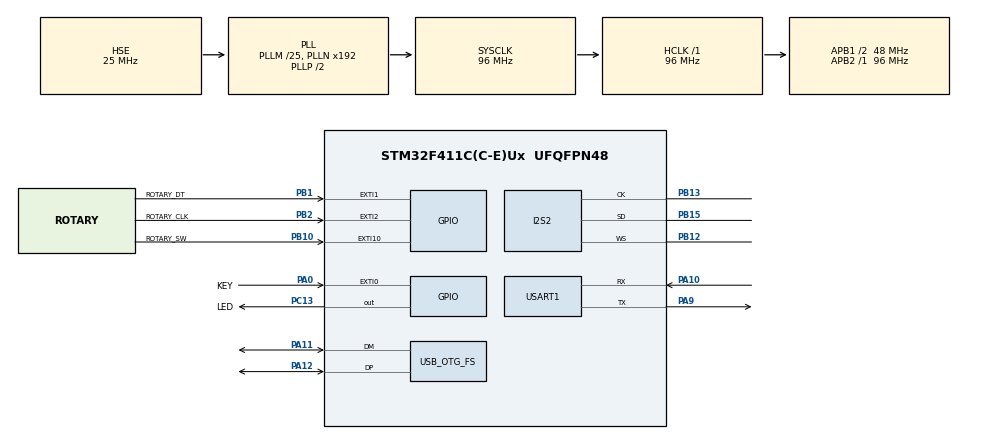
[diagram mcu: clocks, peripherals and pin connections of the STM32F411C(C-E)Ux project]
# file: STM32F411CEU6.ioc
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Dma.Request0=SPI2_TX
Dma.SPI2_TX.0.Direction=DMA_MEMORY_TO_PERIPH
Dma.SPI2_TX.0.FIFOMode=DMA_FIFOMODE_ENABLE
Dma.SPI2_TX.0.FIFOThreshold=DMA_FIFO_THRESHOLD_FULL
Dma.SPI2_TX.0.Instance=DMA1_Stream4
Dma.SPI2_TX.0.MemBurst=DMA_MBURST_INC8
Dma.SPI2_TX.0.MemDataAlignment=DMA_MDATAALIGN_HALFWORD
Dma.SPI2_TX.0.MemInc=DMA_MINC_ENABLE
Dma.SPI2_TX.0.Mode=DMA_CIRCULAR
Dma.SPI2_TX.0.PeriphBurst=DMA_PBURST_SINGLE
Dma.SPI2_TX.0.PeriphDataAlignment=DMA_PDATAALIGN_HALFWORD
Dma.SPI2_TX.0.PeriphInc=DMA_PINC_DISABLE
Dma.SPI2_TX.0.Priority=DMA_PRIORITY_LOW
FREERTOS.Tasks01=defaultTask,24,128,StartDefaultTask,Default,NULL,Dynamic,NULL,NULL
FREERTOS.configGENERATE_RUN_TIME_STATS=1
FREERTOS.configUSE_STATS_FORMATTING_FUNCTIONS=1
I2S2.AudioFreq=I2S_AUDIOFREQ_48K
I2S2.ErrorAudioFreq=0.01 %
I2S2.FullDuplexMode=I2S_FULLDUPLEXMODE_DISABLE
I2S2.Instance=SPI$Index
I2S2.RealAudioFreq=48.007 KHz
I2S2.VirtualMode=I2S_MODE_MASTER
Mcu.Family=STM32F4
Mcu.Name=STM32F411C(C-E)Ux
Mcu.Package=UFQFPN48
NVIC.DMA1_Stream4_IRQn=true\:5\:0\:false\:false\:true\:true\:false\:true\:true
NVIC.EXTI0_IRQn=true\:5\:0\:false\:false\:true\:true\:true\:true\:true
NVIC.EXTI15_10_IRQn=true\:5\:0\:false\:false\:true\:true\:true\:true\:true
NVIC.EXTI1_IRQn=true\:5\:0\:true\:false\:true\:true\:true\:true\:true
NVIC.EXTI2_IRQn=true\:5\:0\:true\:false\:true\:true\:true\:true\:true
NVIC.OTG_FS_IRQn=true\:5\:0\:false\:false\:true\:true\:false\:true\:true
NVIC.PriorityGroup=NVIC_PRIORITYGROUP_4
NVIC.TIM3_IRQn=true\:5\:0\:false\:false\:true\:true\:true\:true\:true
NVIC.TIM4_IRQn=true\:15\:0\:false\:false\:true\:false\:false\:true\:true
NVIC.TIM5_IRQn=true\:5\:0\:false\:false\:true\:true\:true\:true\:true
NVIC.TimeBase=TIM4_IRQn
NVIC.TimeBaseIP=TIM4
PA0-WKUP.GPIO_Label=KEY
PA0-WKUP.GPIO_ModeDefaultEXTI=GPIO_MODE_IT_FALLING
PA0-WKUP.GPIO_PuPd=GPIO_PULLUP
PA0-WKUP.Signal=GPXTI0
PA10.Mode=Asynchronous
PA10.Signal=USART1_RX
PA11.Mode=Device_Only
PA11.Signal=USB_OTG_FS_DM
PA12.Mode=Device_Only
PA12.Signal=USB_OTG_FS_DP
PA9.Mode=Asynchronous
PA9.Signal=USART1_TX
PB1.GPIO_Label=ROTARY_DT
PB1.GPIO_ModeDefaultEXTI=GPIO_MODE_IT_RISING_FALLING
PB1.GPIO_PuPd=GPIO_PULLUP
PB1.Signal=GPXTI1
PB10.GPIO_Label=ROTARY_SW
PB10.GPIO_ModeDefaultEXTI=GPIO_MODE_IT_FALLING
PB10.GPIO_PuPd=GPIO_PULLUP
PB10.Signal=GPXTI10
PB12.Mode=Half_Duplex_Master
PB12.Signal=I2S2_WS
PB13.Mode=Half_Duplex_Master
PB13.Signal=I2S2_CK
PB15.Mode=Half_Duplex_Master
PB15.Signal=I2S2_SD
PB2.GPIO_Label=ROTARY_CLK
PB2.GPIO_ModeDefaultEXTI=GPIO_MODE_IT_RISING_FALLING
PB2.GPIO_PuPd=GPIO_PULLUP
PB2.Signal=GPXTI2
PC13-ANTI_TAMP.GPIO_Label=LED
PC13-ANTI_TAMP.Signal=GPIO_Output
PH0\ -\ OSC_IN.Mode=HSE-External-Oscillator
PH0\ -\ OSC_IN.Signal=RCC_OSC_IN
PH1\ -\ OSC_OUT.Mode=HSE-External-Oscillator
PH1\ -\ OSC_OUT.Signal=RCC_OSC_OUT
ProjectManager.HeapSize=0x4000
ProjectManager.StackSize=0x1000
ProjectManager.TargetToolchain=MDK-ARM V5.32
RCC.48MHZClocksFreq_Value=48000000
RCC.AHBFreq_Value=96000000
RCC.APB1CLKDivider=RCC_HCLK_DIV2
RCC.APB1Freq_Value=48000000
RCC.APB1TimFreq_Value=96000000
RCC.APB2Freq_Value=96000000
RCC.APB2TimFreq_Value=96000000
RCC.CortexFreq_Value=96000000
RCC.HCLKFreq_Value=96000000
RCC.HSE_VALUE=25000000
RCC.HSI_VALUE=16000000
RCC.LSE_VALUE=32768
RCC.PLLI2SN=234
RCC.PLLM=25
RCC.SYSCLKFreq_VALUE=96000000
RCC.SYSCLKSource=RCC_SYSCLKSOURCE_PLLCLK
RCC.VCOOutputFreq_Value=192000000
TIM3.Period=96-1
TIM3.Prescaler=50-1
TIM5.Period=1000-1
TIM5.Prescaler=96-1
USART1.VirtualMode=VM_ASYNC
USB_DEVICE.CLASS_NAME_FS=AUDIO
USB_DEVICE.PID_AUDIO_FS=22336
USB_DEVICE.USBD_AUDIO_FREQ=48000
USB_DEVICE.VirtualMode=Audio
USB_DEVICE.VirtualModeFS=Audio_FS
USB_OTG_FS.VirtualMode=Device_Only
VP_FREERTOS_VS_CMSIS_V2.Mode=CMSIS_V2
VP_SYS_VS_tim4.Mode=TIM4
VP_TIM3_VS_ClockSourceINT.Mode=Internal
VP_TIM5_VS_ClockSourceINT.Mode=Internal
VP_USB_DEVICE_VS_USB_DEVICE_AUDIO_FS.Mode=AUDIO_FS
board=custom

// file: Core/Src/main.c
/* USER CODE BEGIN Header */
/**
  ******************************************************************************
  * @file           : main.c
  * @brief          : Main program body
  ******************************************************************************
  * @attention
  *
  * Copyright (c) 2025 STMicroelectronics.
  * All rights reserved.
  *
  * This software is licensed under terms that can be found in the LICENSE file
  * in the root directory of this software component.
  * If no LICENSE file comes with this software, it is provided AS-IS.
  *
  ******************************************************************************
  */
/* USER CODE END Header */
#include "main.h"
#include "cmsis_os.h"
#include "dma.h"
#include "i2s.h"
#include "tim.h"
#include "usart.h"
#include "usb_device.h"
#include "gpio.h"

/* USER CODE BEGIN Includes */
#include <stdio.h>
#include "SEGGER_RTT.h"
#include "rotary.h"
#include "usbd_audio_if.h"
/* USER CODE END Includes */

/* USER CODE BEGIN PV */
volatile long long FreeRTOSRunTimeTicks;
volatile uint8_t key_press = 0;
volatile uint8_t rotary_key_press = 0;
Rotary_HandleTypeDef hrotary;
/* USER CODE END PV */

void SystemClock_Config(void);
void MX_FREERTOS_Init(void);

/* USER CODE BEGIN 0 */
bool read_rotary_a(void *data) {
  return HAL_GPIO_ReadPin(ROTARY_CLK_GPIO_Port, ROTARY_CLK_Pin) == GPIO_PIN_SET;
}
bool read_rotary_b(void *data) {
  return HAL_GPIO_ReadPin(ROTARY_DT_GPIO_Port, ROTARY_DT_Pin) == GPIO_PIN_SET;
}
/* USER CODE END 0 */

int main(void)
{

  /* MCU Configuration--------------------------------------------------------*/

  /* Reset of all peripherals, Initializes the Flash interface and the Systick. */
  HAL_Init();

  /* Configure the system clock */
  SystemClock_Config();

  /* Initialize all configured peripherals */
  MX_GPIO_Init();
  MX_DMA_Init();
  MX_TIM5_Init();
  MX_USART1_UART_Init();
  MX_TIM3_Init();
  MX_I2S2_Init();
  /* USER CODE BEGIN 2 */
  SEGGER_RTT_Init();
  Rotary_Init(&hrotary, read_rotary_a, NULL, read_rotary_b, NULL);
  HAL_TIM_Base_Start_IT(&htim5);
  /* USER CODE END 2 */

  /* Init scheduler */
  osKernelInitialize();

  /* Call init function for freertos objects (in cmsis_os2.c) */
  MX_FREERTOS_Init();

  /* Start scheduler */
  osKernelStart();

  /* We should never get here as control is now taken by the scheduler */

  /* Infinite loop */
  while (1)
  {

  }
}

void SystemClock_Config(void)
{
  RCC_OscInitTypeDef RCC_OscInitStruct = {0};
  RCC_ClkInitTypeDef RCC_ClkInitStruct = {0};

  /** Configure the main internal regulator output voltage
  */
  __HAL_RCC_PWR_CLK_ENABLE();
  __HAL_PWR_VOLTAGESCALING_CONFIG(PWR_REGULATOR_VOLTAGE_SCALE1);

  /** Initializes the RCC Oscillators according to the specified parameters
  * in the RCC_OscInitTypeDef structure.
  */
  RCC_OscInitStruct.OscillatorType = RCC_OSCILLATORTYPE_HSE;
  RCC_OscInitStruct.HSEState = RCC_HSE_ON;
  RCC_OscInitStruct.PLL.PLLState = RCC_PLL_ON;
  RCC_OscInitStruct.PLL.PLLSource = RCC_PLLSOURCE_HSE;
  RCC_OscInitStruct.PLL.PLLM = 25;
  RCC_OscInitStruct.PLL.PLLN = 192;
  RCC_OscInitStruct.PLL.PLLP = RCC_PLLP_DIV2;
  RCC_OscInitStruct.PLL.PLLQ = 4;
  if (HAL_RCC_OscConfig(&RCC_OscInitStruct) != HAL_OK)
  {
    Error_Handler();
  }

  /** Initializes the CPU, AHB and APB buses clocks
  */
  RCC_ClkInitStruct.ClockType = RCC_CLOCKTYPE_HCLK|RCC_CLOCKTYPE_SYSCLK
                              |RCC_CLOCKTYPE_PCLK1|RCC_CLOCKTYPE_PCLK2;
  RCC_ClkInitStruct.SYSCLKSource = RCC_SYSCLKSOURCE_PLLCLK;
  RCC_ClkInitStruct.AHBCLKDivider = RCC_SYSCLK_DIV1;
  RCC_ClkInitStruct.APB1CLKDivider = RCC_HCLK_DIV2;
  RCC_ClkInitStruct.APB2CLKDivider = RCC_HCLK_DIV1;

  if (HAL_RCC_ClockConfig(&RCC_ClkInitStruct, FLASH_LATENCY_3) != HAL_OK)
  {
    Error_Handler();
  }
}

/* USER CODE BEGIN 4 */
void HAL_GPIO_EXTI_Callback(uint16_t GPIO_Pin)
{
    if(GPIO_Pin == KEY_Pin)
    {
      static uint32_t key_last_tick = 0;
      uint32_t now = HAL_GetTick();
      if (now - key_last_tick < 50) {
          return; //消抖50ms
      }
      key_last_tick = now;
      key_press = 1;
    }

    if(GPIO_Pin == ROTARY_SW_Pin)
    {
      static uint32_t rotary_key_last_tick = 0;
      uint32_t now = HAL_GetTick();
      if (now - rotary_key_last_tick < 50) {
          return; //消抖50ms
      }
      rotary_key_last_tick = now;
      rotary_key_press = 1;
    }
}

void HAL_I2S_TxHalfCpltCallback(I2S_HandleTypeDef *hi2s)
{
	if(hi2s == &hi2s2){
		HalfTransfer_CallBack_FS();
	}
}

void HAL_I2S_TxCpltCallback(I2S_HandleTypeDef *hi2s)
{
	if(hi2s == &hi2s2){
		TransferComplete_CallBack_FS();
	}
}

void AudioDMA_Stop(void)//停止DMA结束播放
{
	HAL_I2S_DMAStop(&hi2s2);
}

void AudioDMA_Pause(void)//暂停DMA暂停播放
{
	HAL_I2S_DMAPause(&hi2s2);
}

void AudioDMA_Resume(void)//从暂停恢复播放
{
	HAL_I2S_DMAResume(&hi2s2);
}

void AudioCard_Play(uint16_t* buff, uint16_t size)//声卡模式开始播放
{
	HAL_I2S_Transmit_DMA(&hi2s2, buff, size);
}

/* USER CODE END 4 */

void HAL_TIM_PeriodElapsedCallback(TIM_HandleTypeDef *htim)
{
  /* USER CODE BEGIN Callback 0 */
  if (htim->Instance == TIM4)
  {
    FreeRTOSRunTimeTicks++;
  }
  /* USER CODE END Callback 0 */
  if (htim->Instance == TIM4)
  {
    HAL_IncTick();
  }
  /* USER CODE BEGIN Callback 1 */
  if(htim->Instance == TIM5) //1ms触发一次
  {
    static uint16_t led_counter = 0;
    led_counter++;
    if(led_counter >= 500)
    {
      led_counter = 0;
      HAL_GPIO_TogglePin(LED_GPIO_Port, LED_Pin);
    }

    // 调用编码器处理函数
    uint8_t result = Rotary_Process(&hrotary);
    // 根据返回值更新计数器
    if (result == ROTARY_DIR_CW) // 顺时针
    {

    }
    else if (result == ROTARY_DIR_CCW) // 逆时针
    {

    }
    // result == ROTARY_DIR_NONE时不做处理
  }
  /* USER CODE END Callback 1 */
}

void Error_Handler(void)
{
  __disable_irq();
  while (1)
  {
  }
}

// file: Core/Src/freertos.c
/* USER CODE BEGIN Header */
/**
  ******************************************************************************
  * File Name          : freertos.c
  * Description        : Code for freertos applications
  ******************************************************************************
  * @attention
  *
  * Copyright (c) 2025 STMicroelectronics.
  * All rights reserved.
  *
  * This software is licensed under terms that can be found in the LICENSE file
  * in the root directory of this software component.
  * If no LICENSE file comes with this software, it is provided AS-IS.
  *
  ******************************************************************************
  */
/* USER CODE END Header */

#include "FreeRTOS.h"
#include "task.h"
#include "main.h"
#include "cmsis_os.h"

/* USER CODE BEGIN Includes */
#include "stdio.h"
#include "string.h"
#include "SEGGER_RTT.h"
/* USER CODE END Includes */

/* USER CODE BEGIN Variables */
extern volatile long long FreeRTOSRunTimeTicks;
/* USER CODE END Variables */
/* Definitions for defaultTask */
osThreadId_t defaultTaskHandle;
const osThreadAttr_t defaultTask_attributes = {
  .name = "defaultTask",
  .stack_size = 128 * 4,
  .priority = (osPriority_t) osPriorityNormal,
};

void StartDefaultTask(void *argument);

extern void MX_USB_DEVICE_Init(void);
void MX_FREERTOS_Init(void); /* (MISRA C 2004 rule 8.1) */

/* Hook prototypes */
void configureTimerForRunTimeStats(void);
unsigned long getRunTimeCounterValue(void);

/* USER CODE BEGIN 1 */
/* Functions needed when configGENERATE_RUN_TIME_STATS is on */
__weak void configureTimerForRunTimeStats(void)
{
  FreeRTOSRunTimeTicks = 0;
}

__weak unsigned long getRunTimeCounterValue(void)
{
return FreeRTOSRunTimeTicks;
}
/* USER CODE END 1 */

void MX_FREERTOS_Init(void) {

  /* Create the thread(s) */
  /* creation of defaultTask */
  defaultTaskHandle = osThreadNew(StartDefaultTask, NULL, &defaultTask_attributes);

}

void StartDefaultTask(void *argument)
{
  /* init code for USB_DEVICE */
  MX_USB_DEVICE_Init();
  /* USER CODE BEGIN StartDefaultTask */
  extern uint8_t key_press;
  extern uint8_t rotary_key_press;
  static char pcWriteBuffer[400];
  static TickType_t lastPrintTick = 0;
  /* Infinite loop */
  for(;;)
  {
    TickType_t nowTicks = xTaskGetTickCount();
    if ((nowTicks - lastPrintTick) >= pdMS_TO_TICKS(1000))
    {
        lastPrintTick = nowTicks;
        SEGGER_RTT_printf(0,"---------------------------------------------\r\n");
        memset(pcWriteBuffer, 0, 400);
        SEGGER_RTT_printf(0,"Task           State   Prio    Stack   Num\r\n");
        vTaskList(pcWriteBuffer);   // Get memory info
        SEGGER_RTT_printf(0,"%s", pcWriteBuffer);
        SEGGER_RTT_printf(0,"---------------------------------------------\r\n");
        memset(pcWriteBuffer, 0, 400);
        SEGGER_RTT_printf(0,"Task           Run Count       Usage\r\n");
        vTaskGetRunTimeStats(pcWriteBuffer);   // Get CPU usage info
        SEGGER_RTT_printf(0,"%s", pcWriteBuffer);
    }
    if(key_press)
    {
      key_press=0;
      osDelay(10);
      if (HAL_GPIO_ReadPin(KEY_GPIO_Port, KEY_Pin) == GPIO_PIN_RESET) {
        while (HAL_GPIO_ReadPin(KEY_GPIO_Port, KEY_Pin) == GPIO_PIN_RESET) {osDelay(1);}
      }
    }
    if(rotary_key_press)
    {
      rotary_key_press=0;
      osDelay(10);
      if (HAL_GPIO_ReadPin(ROTARY_SW_GPIO_Port, ROTARY_SW_Pin) == GPIO_PIN_RESET) {
        while (HAL_GPIO_ReadPin(ROTARY_SW_GPIO_Port, ROTARY_SW_Pin) == GPIO_PIN_RESET) {osDelay(1);}
      }
    }
    osDelay(1);
  }
  /* USER CODE END StartDefaultTask */
}
